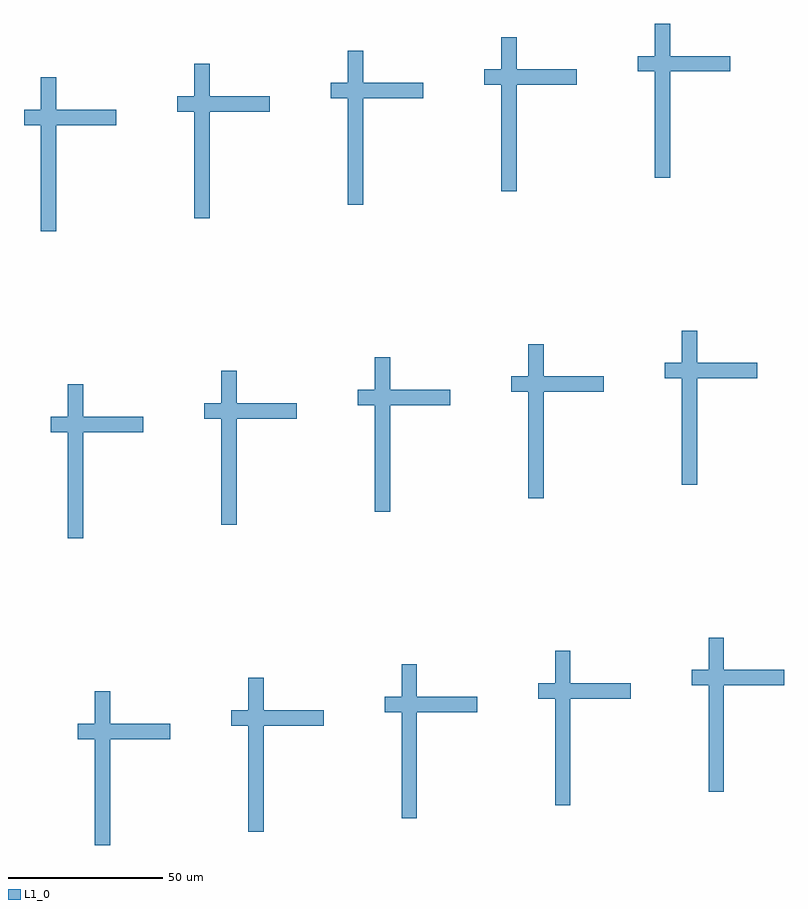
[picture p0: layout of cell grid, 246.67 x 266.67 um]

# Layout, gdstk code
import gdstk
lib = gdstk.Library(unit=1e-6, precision=1e-09)
def P(c, l, *ps):  # polygons
    for p in ps: c.add(gdstk.Polygon(p, *l))
L1_0 = (1, 0)

base = lib.new_cell('base')
P(base, L1_0, [(-2.5,-37),(-2.5,-2.5),(-8,-2.5),(-8,2.5),(-2.5,2.5),(-2.5,13),(2.5,13),(2.5,2.5),(22,2.5),(22,-2.5),(2.5,-2.5),(2.5,-37)])

grid = lib.new_cell('grid')
r = gdstk.Reference(base, (0,0)); r.repetition = gdstk.Repetition(3, 5, v1=(-8.716,99.619), v2=(49.81,4.358)); grid.add(r)

lib.write_gds('grid.gds')
